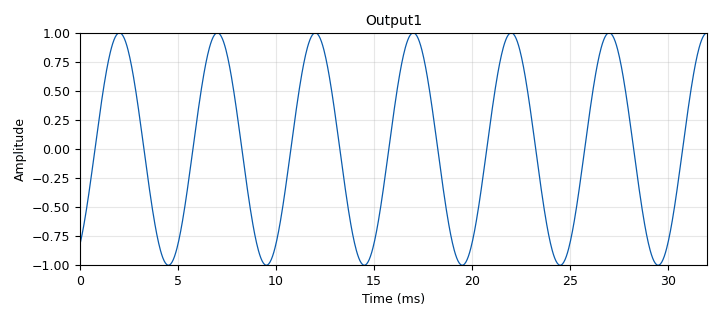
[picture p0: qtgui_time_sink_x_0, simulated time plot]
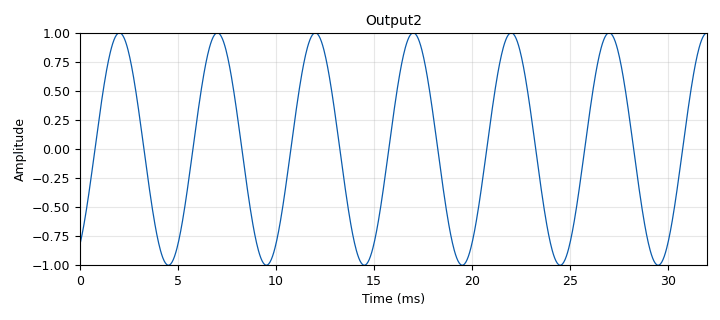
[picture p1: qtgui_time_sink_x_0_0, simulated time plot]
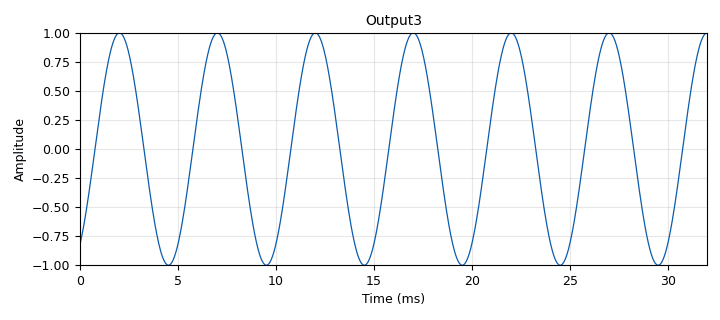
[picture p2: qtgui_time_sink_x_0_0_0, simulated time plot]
options:
  parameters:
    author: Francisco Nicolás Pérez Fernández
    copyright: Verisure
    generate_options: qt_gui
    id: Signal_Routing_Test
    output_language: python
    title: Signal Routing Test
  states: {}

blocks:
- name: data_src
  id: variable_qtgui_chooser
  parameters:
    label: Matrix input signal selector
    label0: Cosine
    label1: Triangle
    label2: 'Null'
    num_opts: '3'
    option0: (1,0,0)
    option1: (0,1,0)
    option2: (0,0,1)
    type: raw
    value: (1,0,0)
  states: {}
- name: samp_rate
  id: variable
  parameters:
    value: '32000'
  states: {}
- name: toggle_switch_0
  id: variable_qtgui_toggle_switch
  parameters:
    initPressed: 'False'
    label: Selector 0
    pressed: 'True'
    released: 'False'
    type: bool
    value: '0'
  states: {}
- name: toggle_switch_1
  id: variable_qtgui_toggle_switch
  parameters:
    initPressed: 'False'
    label: Selector 1
    pressed: 'True'
    released: 'False'
    type: bool
    value: '0'
  states: {}
- name: variable_qtgui_chooser_0
  id: variable_qtgui_chooser
  parameters:
    label: Selector input signal selector
    label0: Cosine
    label1: Triangle
    label2: 'Null'
    num_opts: '3'
    option0: '0'
    option1: '1'
    option2: '2'
    type: int
    value: '0'
  states: {}
- name: analog_sig_source_x_0
  id: analog_sig_source_x
  parameters:
    amp: '1'
    freq: '200'
    offset: '0'
    phase: '0'
    samp_rate: samp_rate
    type: float
    waveform: analog.GR_COS_WAVE
  states: {}
- name: analog_sig_source_x_0_0
  id: analog_sig_source_x
  parameters:
    amp: '1'
    freq: '200'
    offset: '0'
    phase: '0'
    samp_rate: samp_rate
    type: float
    waveform: analog.GR_TRI_WAVE
  states: {}
- name: blocks_multiply_matrix_xx_0
  id: blocks_multiply_matrix_xx
  parameters:
    A: (data_src,)
    tag_propagation_policy: gr.TPP_ALL_TO_ALL
    type: float
  states: {}
- name: blocks_multiply_matrix_xx_0_0
  id: blocks_multiply_matrix_xx
  parameters:
    A: ((1,),(1,))
    tag_propagation_policy: gr.TPP_ALL_TO_ALL
    type: float
  states: {}
- name: blocks_null_source_0
  id: blocks_null_source
  parameters:
    type: float
  states: {}
- name: blocks_selector_0
  id: blocks_selector
  parameters:
    enabled: toggle_switch_0
    input_index: variable_qtgui_chooser_0
    num_inputs: '3'
    num_outputs: '1'
    output_index: '0'
    type: float
  states: {}
- name: blocks_selector_0_0
  id: blocks_selector
  parameters:
    enabled: toggle_switch_1
    input_index: '0'
    num_inputs: '1'
    num_outputs: '2'
    output_index: '1'
    type: float
  states: {}
- name: note_0
  id: note
  parameters:
    note: Sources
  states: {}
- name: qtgui_time_sink_x_0
  id: qtgui_time_sink_x
  parameters:
    name: '"Output1"'
    size: '1024'
    srate: samp_rate
    type: float
  states: {}
- name: qtgui_time_sink_x_0_0
  id: qtgui_time_sink_x
  parameters:
    name: '"Output2"'
    size: '1024'
    srate: samp_rate
    type: float
  states: {}
- name: qtgui_time_sink_x_0_0_0
  id: qtgui_time_sink_x
  parameters:
    name: '"Output3"'
    size: '1024'
    srate: samp_rate
    type: float
  states: {}
- name: qtgui_time_sink_x_0_0_1
  id: qtgui_time_sink_x
  parameters:
    name: '"Output5"'
    size: '1024'
    srate: samp_rate
    type: float
  states: {}
- name: qtgui_time_sink_x_0_0_1_0
  id: qtgui_time_sink_x
  parameters:
    name: '"Output6"'
    size: '1024'
    srate: samp_rate
    type: float
  states: {}
- name: qtgui_time_sink_x_0_1
  id: qtgui_time_sink_x
  parameters:
    name: '"Output4"'
    size: '1024'
    srate: samp_rate
    type: float
  states: {}

connections:
- [analog_sig_source_x_0, '0', blocks_multiply_matrix_xx_0, '0']
- [analog_sig_source_x_0, '0', blocks_selector_0, '0']
- [analog_sig_source_x_0_0, '0', blocks_multiply_matrix_xx_0, '1']
- [analog_sig_source_x_0_0, '0', blocks_selector_0, '1']
- [blocks_multiply_matrix_xx_0, '0', blocks_multiply_matrix_xx_0_0, '0']
- [blocks_multiply_matrix_xx_0, '0', qtgui_time_sink_x_0, '0']
- [blocks_multiply_matrix_xx_0_0, '0', qtgui_time_sink_x_0_0, '0']
- [blocks_multiply_matrix_xx_0_0, '1', qtgui_time_sink_x_0_0_0, '0']
- [blocks_null_source_0, '0', blocks_multiply_matrix_xx_0, '2']
- [blocks_null_source_0, '0', blocks_selector_0, '2']
- [blocks_selector_0, '0', blocks_selector_0_0, '0']
- [blocks_selector_0, '0', qtgui_time_sink_x_0_1, '0']
- [blocks_selector_0_0, '0', qtgui_time_sink_x_0_0_1, '0']
- [blocks_selector_0_0, '1', qtgui_time_sink_x_0_0_1_0, '0']

metadata:
  file_format: 1
  grc_version: 3.10.2.0
